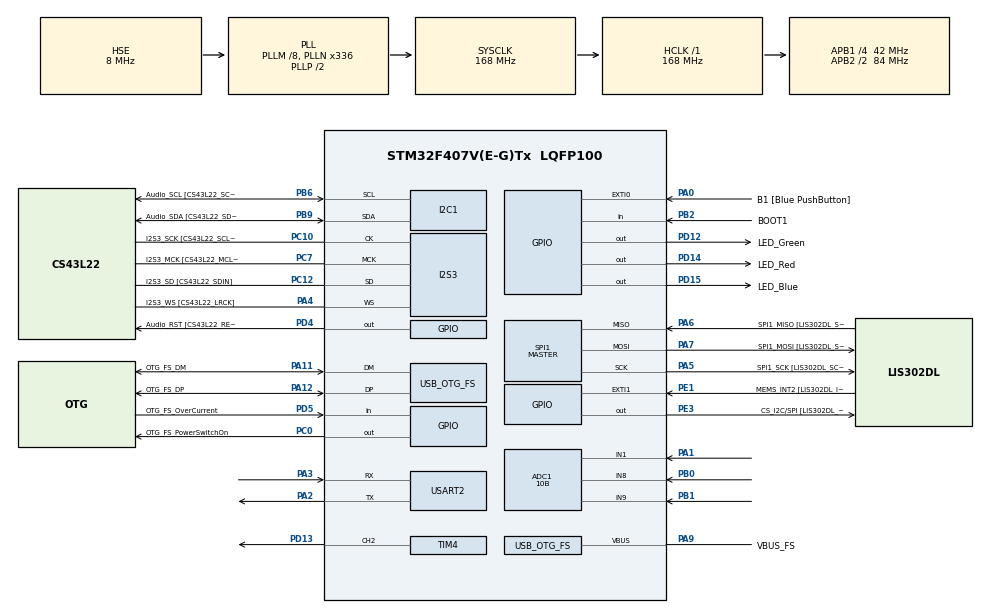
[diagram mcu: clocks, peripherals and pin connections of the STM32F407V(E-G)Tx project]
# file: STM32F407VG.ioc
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ADC1.Channel-0\#ChannelRegularConversion=ADC_CHANNEL_1
ADC1.Channel-3\#ChannelRegularConversion=ADC_CHANNEL_8
ADC1.Channel-4\#ChannelRegularConversion=ADC_CHANNEL_9
ADC1.ClockPrescaler=ADC_CLOCK_SYNC_PCLK_DIV8
ADC1.ContinuousConvMode=ENABLE
ADC1.DMAContinuousRequests=ENABLE
ADC1.InjNumberOfConversion=0
ADC1.NbrOfConversion=3
ADC1.NbrOfConversionFlag=1
ADC1.Rank-0\#ChannelRegularConversion=1
ADC1.Rank-3\#ChannelRegularConversion=2
ADC1.Rank-4\#ChannelRegularConversion=3
ADC1.Resolution=ADC_RESOLUTION_10B
ADC1.SamplingTime-0\#ChannelRegularConversion=ADC_SAMPLETIME_84CYCLES
ADC1.SamplingTime-3\#ChannelRegularConversion=ADC_SAMPLETIME_84CYCLES
ADC1.SamplingTime-4\#ChannelRegularConversion=ADC_SAMPLETIME_84CYCLES
ADC1.ScanConvMode=ENABLE
ADC1.master=1
Dma.ADC1.0.Direction=DMA_PERIPH_TO_MEMORY
Dma.ADC1.0.FIFOMode=DMA_FIFOMODE_DISABLE
Dma.ADC1.0.Instance=DMA2_Stream0
Dma.ADC1.0.MemDataAlignment=DMA_MDATAALIGN_HALFWORD
Dma.ADC1.0.MemInc=DMA_MINC_ENABLE
Dma.ADC1.0.Mode=DMA_CIRCULAR
Dma.ADC1.0.PeriphDataAlignment=DMA_PDATAALIGN_HALFWORD
Dma.ADC1.0.PeriphInc=DMA_PINC_DISABLE
Dma.ADC1.0.Priority=DMA_PRIORITY_LOW
Dma.Request0=ADC1
Dma.Request1=TIM4_CH2
Dma.TIM4_CH2.1.Direction=DMA_MEMORY_TO_PERIPH
Dma.TIM4_CH2.1.FIFOMode=DMA_FIFOMODE_DISABLE
Dma.TIM4_CH2.1.Instance=DMA1_Stream3
Dma.TIM4_CH2.1.MemDataAlignment=DMA_MDATAALIGN_HALFWORD
Dma.TIM4_CH2.1.MemInc=DMA_MINC_ENABLE
Dma.TIM4_CH2.1.Mode=DMA_CIRCULAR
Dma.TIM4_CH2.1.PeriphDataAlignment=DMA_PDATAALIGN_HALFWORD
Dma.TIM4_CH2.1.PeriphInc=DMA_PINC_DISABLE
Dma.TIM4_CH2.1.Priority=DMA_PRIORITY_LOW
I2S3.AudioFreq-Half_Duplex_Master=I2S_AUDIOFREQ_96K
I2S3.ErrorAudioFreq=-2.34 %
I2S3.ErrorAudioFreq-Half_Duplex_Master=0.8 %
I2S3.FullDuplexMode=I2S_FULLDUPLEXMODE_DISABLE
I2S3.Instance=SPI$Index
I2S3.RealAudioFreq=93.75 KHz
I2S3.RealAudioFreq-Half_Duplex_Master=96.774 KHz
I2S3.VirtualMode=I2S_MODE_MASTER
Mcu.Family=STM32F4
Mcu.Name=STM32F407V(E-G)Tx
Mcu.Package=LQFP100
NVIC.DMA1_Stream3_IRQn=true\:0\:0\:false\:false\:true\:false\:true
NVIC.DMA2_Stream0_IRQn=true\:0\:0\:false\:false\:true\:false\:true
NVIC.OTG_FS_IRQn=true\:0\:0\:false\:false\:true\:true\:true
NVIC.PriorityGroup=NVIC_PRIORITYGROUP_0
NVIC.TIM1_UP_TIM10_IRQn=true\:0\:0\:false\:false\:true\:true\:true
NVIC.USART2_IRQn=true\:0\:0\:false\:false\:true\:true\:true
PA0-WKUP.GPIO_Label=B1 [Blue PushButton]
PA0-WKUP.GPIO_ModeDefaultEXTI=GPIO_MODE_EVT_RISING
PA0-WKUP.GPIO_PuPd=GPIO_NOPULL
PA0-WKUP.Signal=GPXTI0
PA1.Signal=ADCx_IN1
PA10.GPIO_Label=OTG_FS_ID
PA10.GPIO_Mode=GPIO_MODE_AF_PP
PA10.GPIO_PuPd=GPIO_NOPULL
PA10.GPIO_Speed=GPIO_SPEED_FREQ_LOW
PA10.Signal=USB_OTG_FS_ID
PA11.GPIO_Label=OTG_FS_DM
PA11.GPIO_Mode=GPIO_MODE_AF_PP
PA11.GPIO_PuPd=GPIO_NOPULL
PA11.GPIO_Speed=GPIO_SPEED_FREQ_LOW
PA11.Mode=Host_Only
PA11.Signal=USB_OTG_FS_DM
PA12.GPIO_Label=OTG_FS_DP
PA12.GPIO_Mode=GPIO_MODE_AF_PP
PA12.GPIO_PuPd=GPIO_NOPULL
PA12.GPIO_Speed=GPIO_SPEED_FREQ_LOW
PA12.Mode=Host_Only
PA12.Signal=USB_OTG_FS_DP
PA13.GPIO_Label=SWDIO
PA13.Mode=Serial_Wire
PA13.Signal=SYS_JTMS-SWDIO
PA14.GPIO_Label=SWCLK
PA14.Mode=Serial_Wire
PA14.Signal=SYS_JTCK-SWCLK
PA2.Mode=Asynchronous
PA2.Signal=USART2_TX
PA3.Mode=Asynchronous
PA3.Signal=USART2_RX
PA4.GPIO_Label=I2S3_WS [CS43L22_LRCK]
PA4.GPIO_Mode=GPIO_MODE_AF_PP
PA4.GPIO_PuPd=GPIO_NOPULL
PA4.GPIO_Speed=GPIO_SPEED_FREQ_LOW
PA4.Mode=Half_Duplex_Master
PA4.Signal=I2S3_WS
PA5.GPIO_Label=SPI1_SCK [LIS302DL_SCL/SPC]
PA5.GPIO_Mode=GPIO_MODE_AF_PP
PA5.GPIO_PuPd=GPIO_NOPULL
PA5.GPIO_Speed=GPIO_SPEED_FREQ_LOW
PA5.Mode=Full_Duplex_Master
PA5.Signal=SPI1_SCK
PA6.GPIO_Label=SPI1_MISO [LIS302DL_SDO]
PA6.GPIO_Mode=GPIO_MODE_AF_PP
PA6.GPIO_PuPd=GPIO_NOPULL
PA6.GPIO_Speed=GPIO_SPEED_FREQ_LOW
PA6.Mode=Full_Duplex_Master
PA6.Signal=SPI1_MISO
PA7.GPIO_Label=SPI1_MOSI [LIS302DL_SDA/SDI/SDO]
PA7.GPIO_Mode=GPIO_MODE_AF_PP
PA7.GPIO_PuPd=GPIO_NOPULL
PA7.GPIO_Speed=GPIO_SPEED_FREQ_LOW
PA7.Mode=Full_Duplex_Master
PA7.Signal=SPI1_MOSI
PA9.GPIO_Label=VBUS_FS
PA9.GPIO_Mode=GPIO_MODE_INPUT
PA9.GPIO_PuPd=GPIO_NOPULL
PA9.Mode=Activate_VBUS
PA9.Signal=USB_OTG_FS_VBUS
PB0.Signal=ADCx_IN8
PB1.Signal=ADCx_IN9
PB10.GPIO_Label=CLK_IN [MP45DT02_CLK]
PB10.GPIO_Mode=GPIO_MODE_AF_PP
PB10.GPIO_PuPd=GPIO_NOPULL
PB10.GPIO_Speed=GPIO_SPEED_FREQ_LOW
PB10.Signal=I2S2_CK
PB2.GPIO_Label=BOOT1
PB2.GPIO_Mode=GPIO_MODE_INPUT
PB2.GPIO_PuPd=GPIO_NOPULL
PB2.Signal=GPIO_Input
PB3.GPIO_Label=SWO
PB3.Signal=SYS_JTDO-SWO
PB6.GPIO_Label=Audio_SCL [CS43L22_SCL]
PB6.GPIO_Mode=GPIO_MODE_AF_OD
PB6.GPIO_PuPd=GPIO_NOPULL
PB6.GPIO_Speed=GPIO_SPEED_FREQ_LOW
PB6.Mode=I2C
PB6.Signal=I2C1_SCL
PB9.GPIO_Label=Audio_SDA [CS43L22_SDA]
PB9.GPIO_Mode=GPIO_MODE_AF_OD
PB9.GPIO_PuPd=GPIO_NOPULL
PB9.GPIO_Speed=GPIO_SPEED_FREQ_LOW
PB9.Mode=I2C
PB9.Signal=I2C1_SDA
PC0.GPIO_Label=OTG_FS_PowerSwitchOn
PC0.GPIO_PuPd=GPIO_NOPULL
PC0.GPIO_Speed=GPIO_SPEED_FREQ_LOW
PC0.PinState=GPIO_PIN_SET
PC0.Signal=GPIO_Output
PC10.GPIO_Label=I2S3_SCK [CS43L22_SCLK]
PC10.GPIO_Mode=GPIO_MODE_AF_PP
PC10.GPIO_PuPd=GPIO_NOPULL
PC10.GPIO_Speed=GPIO_SPEED_FREQ_LOW
PC10.Mode=Half_Duplex_Master
PC10.Signal=I2S3_CK
PC12.GPIO_Label=I2S3_SD [CS43L22_SDIN]
PC12.GPIO_Mode=GPIO_MODE_AF_PP
PC12.GPIO_PuPd=GPIO_NOPULL
PC12.GPIO_Speed=GPIO_SPEED_FREQ_LOW
PC12.Mode=Half_Duplex_Master
PC12.Signal=I2S3_SD
PC14-OSC32_IN.GPIO_Label=PC14-OSC32_IN
PC14-OSC32_IN.Mode=LSE-External-Oscillator
PC14-OSC32_IN.Signal=RCC_OSC32_IN
PC15-OSC32_OUT.GPIO_Label=PC15-OSC32_OUT
PC15-OSC32_OUT.Mode=LSE-External-Oscillator
PC15-OSC32_OUT.Signal=RCC_OSC32_OUT
PC3.GPIO_Label=PDM_OUT [MP45DT02_DOUT]
PC3.GPIO_Mode=GPIO_MODE_AF_PP
PC3.GPIO_PuPd=GPIO_NOPULL
PC3.GPIO_Speed=GPIO_SPEED_FREQ_LOW
PC3.Signal=I2S2_SD
PC7.GPIO_Label=I2S3_MCK [CS43L22_MCLK]
PC7.GPIO_Mode=GPIO_MODE_AF_PP
PC7.GPIO_PuPd=GPIO_NOPULL
PC7.GPIO_Speed=GPIO_SPEED_FREQ_LOW
PC7.Mode=Master_Clock_Activated
PC7.Signal=I2S3_MCK
PD12.GPIO_Label=LED_Green
PD12.Signal=GPIO_Output
PD13.Signal=S_TIM4_CH2
PD14.GPIO_Label=LED_Red
PD14.GPIO_PuPd=GPIO_NOPULL
PD14.GPIO_Speed=GPIO_SPEED_FREQ_LOW
PD14.Signal=GPIO_Output
PD15.GPIO_Label=LED_Blue
PD15.Signal=GPIO_Output
PD4.GPIO_Label=Audio_RST [CS43L22_RESET]
PD4.GPIO_PuPd=GPIO_NOPULL
PD4.GPIO_Speed=GPIO_SPEED_FREQ_LOW
PD4.Signal=GPIO_Output
PD5.GPIO_Label=OTG_FS_OverCurrent
PD5.GPIO_Mode=GPIO_MODE_INPUT
PD5.GPIO_PuPd=GPIO_NOPULL
PD5.Signal=GPIO_Input
PE1.GPIO_Label=MEMS_INT2 [LIS302DL_INT2]
PE1.GPIO_ModeDefaultEXTI=GPIO_MODE_EVT_RISING
PE1.GPIO_PuPd=GPIO_NOPULL
PE1.Signal=GPXTI1
PE3.GPIO_Label=CS_I2C/SPI [LIS302DL_CS_I2C/SPI]
PE3.GPIO_PuPd=GPIO_NOPULL
PE3.GPIO_Speed=GPIO_SPEED_FREQ_LOW
PE3.Signal=GPIO_Output
PH0-OSC_IN.GPIO_Label=PH0-OSC_IN
PH0-OSC_IN.Mode=HSE-External-Oscillator
PH0-OSC_IN.Signal=RCC_OSC_IN
PH1-OSC_OUT.GPIO_Label=PH1-OSC_OUT
PH1-OSC_OUT.Mode=HSE-External-Oscillator
PH1-OSC_OUT.Signal=RCC_OSC_OUT
ProjectManager.HeapSize=0x200
ProjectManager.StackSize=0x400
ProjectManager.TargetToolchain=STM32CubeIDE
RCC.48MHZClocksFreq_Value=48000000
RCC.AHBFreq_Value=168000000
RCC.APB1CLKDivider=RCC_HCLK_DIV4
RCC.APB1Freq_Value=42000000
RCC.APB1TimFreq_Value=84000000
RCC.APB2CLKDivider=RCC_HCLK_DIV2
RCC.APB2Freq_Value=84000000
RCC.APB2TimFreq_Value=168000000
RCC.CortexFreq_Value=168000000
RCC.HCLKFreq_Value=168000000
RCC.HSE_VALUE=8000000
RCC.HSI_VALUE=16000000
RCC.PLLM=8
RCC.PLLN=336
RCC.PLLQ=7
RCC.SYSCLKFreq_VALUE=168000000
RCC.SYSCLKSource=RCC_SYSCLKSOURCE_PLLCLK
RCC.VCOOutputFreq_Value=336000000
SH.ADCx_IN1.0=ADC1_IN1,IN1
SH.ADCx_IN8.0=ADC1_IN8,IN8
SH.ADCx_IN9.0=ADC1_IN9,IN9
SH.S_TIM4_CH2.0=TIM4_CH2,PWM Generation2 CH2
SPI1.BaudRatePrescaler-Full_Duplex_Master=SPI_BAUDRATEPRESCALER_2
SPI1.CalculateBaudRate-Full_Duplex_Master=42.0 MBits/s
SPI1.Direction=SPI_DIRECTION_2LINES
SPI1.Mode=SPI_MODE_MASTER
SPI1.Mode-Full_Duplex_Master=SPI_MODE_MASTER
SPI1.VirtualType=VM_MASTER
TIM10.AutoReloadPreload=TIM_AUTORELOAD_PRELOAD_ENABLE
TIM10.ClockDivision=TIM_CLOCKDIVISION_DIV4
TIM10.Period=33599
TIM10.Prescaler=499
TIM4.Channel-PWM\ Generation2\ CH2=TIM_CHANNEL_2
TIM4.Period=99
TIM4.Prescaler=16799
USART2.VirtualMode=VM_ASYNC
USB_HOST.BSP.number=1
USB_HOST.USBH_HandleTypeDef-CDC_FS=hUsbHostFS
USB_HOST.VirtualModeFS=Cdc
USB_HOST0.BSP.STBoard=false
USB_HOST0.BSP.api=Unknown
USB_HOST0.BSP.i2caddr=0
USB_HOST0.BSP.i2creg=0
USB_HOST0.BSP.instance=PC0
USB_HOST0.BSP.ip=GPIO
USB_HOST0.BSP.mode=Output
USB_HOST0.BSP.name=Drive_VBUS_FS
USB_HOST0.BSP.solution=PC0
USB_OTG_FS.VirtualMode=Host_Only
USB_OTG_FS.phy_itface=HCD_PHY_EMBEDDED
VP_TIM10_VS_ClockSourceINT.Mode=Enable_Timer
VP_TIM4_VS_ClockSourceINT.Mode=Internal
VP_USB_HOST_VS_USB_HOST_CDC_FS.Mode=CDC_FS
board=STM32F407G-DISC1

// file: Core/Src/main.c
/* USER CODE BEGIN Header */
/**
  ******************************************************************************
  * @file           : main.c
  * @brief          : Main program body
  ******************************************************************************
  * @attention
  *
  * <h2><center>&copy; Copyright (c) 2020 STMicroelectronics.
  * All rights reserved.</center></h2>
  *
  * This software component is licensed by ST under Ultimate Liberty license
  * SLA0044, the "License"; You may not use this file except in compliance with
  * the License. You may obtain a copy of the License at:
  *                             www.st.com/SLA0044
  *
  ******************************************************************************
  */
/* USER CODE END Header */
#include "main.h"
#include "usb_host.h"

/* USER CODE BEGIN Includes */
#include <stdio.h>
/* USER CODE END Includes */

ADC_HandleTypeDef hadc1;
DMA_HandleTypeDef hdma_adc1;

I2C_HandleTypeDef hi2c1;

I2S_HandleTypeDef hi2s3;

SPI_HandleTypeDef hspi1;

TIM_HandleTypeDef htim4;
TIM_HandleTypeDef htim10;
DMA_HandleTypeDef hdma_tim4_ch2;

UART_HandleTypeDef huart2;

/* USER CODE BEGIN PV */
uint8_t timer_state=0;
uint8_t receive_state=0;
uint16_t ADC_Data[3];
uint8_t Duty=0;

uint16_t scale=1024;
static uint16_t battery=0;
static uint16_t balance_level=0;
static uint16_t charging=0;
static uint16_t servo=0;
uint8_t Received_data[10];//data received from ESP
uint8_t data[100];// data transmitted to ESP
uint16_t size = 0; //size of transmitted data
uint8_t mode =0;
/* USER CODE END PV */

void SystemClock_Config(void);
static void MX_GPIO_Init(void);
static void MX_DMA_Init(void);
static void MX_I2C1_Init(void);
static void MX_I2S3_Init(void);
static void MX_SPI1_Init(void);
static void MX_TIM10_Init(void);
static void MX_USART2_UART_Init(void);
static void MX_ADC1_Init(void);
static void MX_TIM4_Init(void);
void MX_USB_HOST_Process(void);

/* USER CODE BEGIN PFP */
void HAL_TIM_PeriodElapsedCallback(TIM_HandleTypeDef *htim) {
	timer_state=1;// ustawione na razie co jedną sekundę
}
 void HAL_UART_RxCpltCallback(UART_HandleTypeDef *huart)
 {
	 receive_state = 1;
 }

/* USER CODE END PFP */

int main(void)
{

  /* MCU Configuration--------------------------------------------------------*/

  /* Reset of all peripherals, Initializes the Flash interface and the Systick. */
  HAL_Init();

  /* Configure the system clock */
  SystemClock_Config();

  /* Initialize all configured peripherals */
  MX_GPIO_Init();
  MX_DMA_Init();
  MX_I2C1_Init();
  MX_I2S3_Init();
  MX_SPI1_Init();
  MX_USB_HOST_Init();
  MX_TIM10_Init();
  MX_USART2_UART_Init();
  MX_ADC1_Init();
  MX_TIM4_Init();
  /* USER CODE BEGIN 2 */

  HAL_TIM_Base_Start_IT(&htim10);
  HAL_ADC_Start_DMA(&hadc1, ADC_Data, 3);
  HAL_TIM_PWM_Start_DMA(&htim4,TIM_CHANNEL_2, &Duty, 1);

  Duty=8;

 //RCC->APB2LPENR|= ~(1<<RCC_APB2LPENR_TIM10LPEN_Pos);

  /* USER CODE END 2 */

  /* Infinite loop */
  /* USER CODE BEGIN WHILE */

  //watchdog configuration:

  RCC->CSR |= RCC_CSR_LSION; //enable LSI required for watchdog
  while((RCC->CSR & RCC_CSR_LSIRDY) == 0)//checking whether LSI is on
  { ; }

  IWDG->KR = 0x5555;// enabling access to the IWDG_PR and IWDG_RLR registers
  IWDG->PR =4;//set prescaler
  IWDG->RLR = 0x7D0;//counter value
  IWDG->KR =0xaaaa;//counter reset

  IWDG->KR = 0xcccc;//turn Watchdog on
  __DSB();//waiting for completed memory acces

  while (1)
  {
	  if(timer_state==1)//if TIM10 interrupt, transmitt data via uart:
	  	 {

		  battery=ADC_Data[0];//battery voltage level
		  balance_level=ADC_Data[1];//light level given by photoresistor divider
		  charging=ADC_Data[2];//solar panel voltage level

		  //servo = 0;
		  //servo information is stored in static variable
		  //we have to know the last position!!!

		  //dataframe example: c00000b00000ll00000s00000

		  HAL_GPIO_TogglePin(LED_Red_GPIO_Port, LED_Red_Pin);//RED led informs that data is transmitted!
		  size = sprintf(data, "c%db%dll%ds%d\n\r",charging,battery,balance_level,servo); // Stworzenie wiadomosci do wyslania
		  HAL_UART_Transmit_IT(&huart2, data, size);//data transmittion
		  timer_state=0;

	  	 }

		  if(receive_state==1)//if UART Rx Callback set servo and transmitt feedback message
		  {

			//if data received - turn on LED_Green for half of sec
			HAL_GPIO_WritePin(LED_Green_GPIO_Port, LED_Green_Pin, GPIO_PIN_SET);
			HAL_Delay(500);
			HAL_GPIO_WritePin(LED_Green_GPIO_Port, LED_Green_Pin, GPIO_PIN_RESET);
			//receiving data:
			HAL_UART_Receive_IT(&huart2,Received_data,10);

			servo=atoi(&Received_data);//if servo data was received, example s4

			if(servo == 1)
			{
			//sleep mode configuration:
			//SCB->SCR |= ~(1<<SCB_SCR_SLEEPDEEP_Pos);

			}
			else if(servo>3 && servo<12) //example when 4 set servo
			{
			mode = 1;
			Duty = servo;
			}
			else mode=0;// example: when 0 automat

			//feedback message:
			size = sprintf(data, "c%db%dll%ds%d\n\r",charging,battery,balance_level,servo); //feedback message  with extra servo data (updated)
			HAL_UART_Transmit_IT(&huart2, data, size);
			receive_state=0;
		  }
		  if(receive_state==0 && mode==0 && timer_state==1)
		  {
			  const uint16_t neutral_pos= 450;

			  if(abs(ADC_Data[1]-neutral_pos)>50)
			  {
			  	  if(ADC_Data[1]-neutral_pos>0)
					{

					  if(Duty<11) Duty+=1;
					}
				  else
					 if(Duty>4) Duty-=1;
			  }

		  }
		  //IWDG->KR = 0xaaaa;
		  HAL_GPIO_WritePin(LED_Blue_GPIO_Port, LED_Blue_Pin, GPIO_PIN_SET);
		  HAL_Delay(30);
		  HAL_GPIO_WritePin(LED_Blue_GPIO_Port, LED_Blue_Pin, GPIO_PIN_RESET);
		  HAL_Delay(30);

    /* USER CODE END WHILE */
    MX_USB_HOST_Process();

  }
}

void SystemClock_Config(void)
{
  RCC_OscInitTypeDef RCC_OscInitStruct = {0};
  RCC_ClkInitTypeDef RCC_ClkInitStruct = {0};
  RCC_PeriphCLKInitTypeDef PeriphClkInitStruct = {0};

  /** Configure the main internal regulator output voltage
  */
  __HAL_RCC_PWR_CLK_ENABLE();
  __HAL_PWR_VOLTAGESCALING_CONFIG(PWR_REGULATOR_VOLTAGE_SCALE1);
  /** Initializes the RCC Oscillators according to the specified parameters
  * in the RCC_OscInitTypeDef structure.
  */
  RCC_OscInitStruct.OscillatorType = RCC_OSCILLATORTYPE_HSE;
  RCC_OscInitStruct.HSEState = RCC_HSE_ON;
  RCC_OscInitStruct.PLL.PLLState = RCC_PLL_ON;
  RCC_OscInitStruct.PLL.PLLSource = RCC_PLLSOURCE_HSE;
  RCC_OscInitStruct.PLL.PLLM = 8;
  RCC_OscInitStruct.PLL.PLLN = 336;
  RCC_OscInitStruct.PLL.PLLP = RCC_PLLP_DIV2;
  RCC_OscInitStruct.PLL.PLLQ = 7;
  if (HAL_RCC_OscConfig(&RCC_OscInitStruct) != HAL_OK)
  {
    Error_Handler();
  }
  /** Initializes the CPU, AHB and APB buses clocks
  */
  RCC_ClkInitStruct.ClockType = RCC_CLOCKTYPE_HCLK|RCC_CLOCKTYPE_SYSCLK
                              |RCC_CLOCKTYPE_PCLK1|RCC_CLOCKTYPE_PCLK2;
  RCC_ClkInitStruct.SYSCLKSource = RCC_SYSCLKSOURCE_PLLCLK;
  RCC_ClkInitStruct.AHBCLKDivider = RCC_SYSCLK_DIV1;
  RCC_ClkInitStruct.APB1CLKDivider = RCC_HCLK_DIV4;
  RCC_ClkInitStruct.APB2CLKDivider = RCC_HCLK_DIV2;

  if (HAL_RCC_ClockConfig(&RCC_ClkInitStruct, FLASH_LATENCY_5) != HAL_OK)
  {
    Error_Handler();
  }
  PeriphClkInitStruct.PeriphClockSelection = RCC_PERIPHCLK_I2S;
  PeriphClkInitStruct.PLLI2S.PLLI2SN = 192;
  PeriphClkInitStruct.PLLI2S.PLLI2SR = 2;
  if (HAL_RCCEx_PeriphCLKConfig(&PeriphClkInitStruct) != HAL_OK)
  {
    Error_Handler();
  }
}

static void MX_ADC1_Init(void)
{

  ADC_ChannelConfTypeDef sConfig = {0};

  /** Configure the global features of the ADC (Clock, Resolution, Data Alignment and number of conversion)
  */
  hadc1.Instance = ADC1;
  hadc1.Init.ClockPrescaler = ADC_CLOCK_SYNC_PCLK_DIV8;
  hadc1.Init.Resolution = ADC_RESOLUTION_10B;
  hadc1.Init.ScanConvMode = ENABLE;
  hadc1.Init.ContinuousConvMode = ENABLE;
  hadc1.Init.DiscontinuousConvMode = DISABLE;
  hadc1.Init.ExternalTrigConvEdge = ADC_EXTERNALTRIGCONVEDGE_NONE;
  hadc1.Init.ExternalTrigConv = ADC_SOFTWARE_START;
  hadc1.Init.DataAlign = ADC_DATAALIGN_RIGHT;
  hadc1.Init.NbrOfConversion = 3;
  hadc1.Init.DMAContinuousRequests = ENABLE;
  hadc1.Init.EOCSelection = ADC_EOC_SINGLE_CONV;
  if (HAL_ADC_Init(&hadc1) != HAL_OK)
  {
    Error_Handler();
  }
  /** Configure for the selected ADC regular channel its corresponding rank in the sequencer and its sample time.
  */
  sConfig.Channel = ADC_CHANNEL_1;
  sConfig.Rank = 1;
  sConfig.SamplingTime = ADC_SAMPLETIME_84CYCLES;
  if (HAL_ADC_ConfigChannel(&hadc1, &sConfig) != HAL_OK)
  {
    Error_Handler();
  }
  /** Configure for the selected ADC regular channel its corresponding rank in the sequencer and its sample time.
  */
  sConfig.Channel = ADC_CHANNEL_8;
  sConfig.Rank = 2;
  if (HAL_ADC_ConfigChannel(&hadc1, &sConfig) != HAL_OK)
  {
    Error_Handler();
  }
  /** Configure for the selected ADC regular channel its corresponding rank in the sequencer and its sample time.
  */
  sConfig.Channel = ADC_CHANNEL_9;
  sConfig.Rank = 3;
  if (HAL_ADC_ConfigChannel(&hadc1, &sConfig) != HAL_OK)
  {
    Error_Handler();
  }

}

static void MX_I2C1_Init(void)
{

  hi2c1.Instance = I2C1;
  hi2c1.Init.ClockSpeed = 100000;
  hi2c1.Init.DutyCycle = I2C_DUTYCYCLE_2;
  hi2c1.Init.OwnAddress1 = 0;
  hi2c1.Init.AddressingMode = I2C_ADDRESSINGMODE_7BIT;
  hi2c1.Init.DualAddressMode = I2C_DUALADDRESS_DISABLE;
  hi2c1.Init.OwnAddress2 = 0;
  hi2c1.Init.GeneralCallMode = I2C_GENERALCALL_DISABLE;
  hi2c1.Init.NoStretchMode = I2C_NOSTRETCH_DISABLE;
  if (HAL_I2C_Init(&hi2c1) != HAL_OK)
  {
    Error_Handler();
  }

}

static void MX_I2S3_Init(void)
{

  hi2s3.Instance = SPI3;
  hi2s3.Init.Mode = I2S_MODE_MASTER_TX;
  hi2s3.Init.Standard = I2S_STANDARD_PHILIPS;
  hi2s3.Init.DataFormat = I2S_DATAFORMAT_16B;
  hi2s3.Init.MCLKOutput = I2S_MCLKOUTPUT_ENABLE;
  hi2s3.Init.AudioFreq = I2S_AUDIOFREQ_96K;
  hi2s3.Init.CPOL = I2S_CPOL_LOW;
  hi2s3.Init.ClockSource = I2S_CLOCK_PLL;
  hi2s3.Init.FullDuplexMode = I2S_FULLDUPLEXMODE_DISABLE;
  if (HAL_I2S_Init(&hi2s3) != HAL_OK)
  {
    Error_Handler();
  }

}

static void MX_SPI1_Init(void)
{

  /* SPI1 parameter configuration*/
  hspi1.Instance = SPI1;
  hspi1.Init.Mode = SPI_MODE_MASTER;
  hspi1.Init.Direction = SPI_DIRECTION_2LINES;
  hspi1.Init.DataSize = SPI_DATASIZE_8BIT;
  hspi1.Init.CLKPolarity = SPI_POLARITY_LOW;
  hspi1.Init.CLKPhase = SPI_PHASE_1EDGE;
  hspi1.Init.NSS = SPI_NSS_SOFT;
  hspi1.Init.BaudRatePrescaler = SPI_BAUDRATEPRESCALER_2;
  hspi1.Init.FirstBit = SPI_FIRSTBIT_MSB;
  hspi1.Init.TIMode = SPI_TIMODE_DISABLE;
  hspi1.Init.CRCCalculation = SPI_CRCCALCULATION_DISABLE;
  hspi1.Init.CRCPolynomial = 10;
  if (HAL_SPI_Init(&hspi1) != HAL_OK)
  {
    Error_Handler();
  }

}

static void MX_TIM4_Init(void)
{

  TIM_ClockConfigTypeDef sClockSourceConfig = {0};
  TIM_MasterConfigTypeDef sMasterConfig = {0};
  TIM_OC_InitTypeDef sConfigOC = {0};

  htim4.Instance = TIM4;
  htim4.Init.Prescaler = 16799;
  htim4.Init.CounterMode = TIM_COUNTERMODE_UP;
  htim4.Init.Period = 99;
  htim4.Init.ClockDivision = TIM_CLOCKDIVISION_DIV1;
  htim4.Init.AutoReloadPreload = TIM_AUTORELOAD_PRELOAD_DISABLE;
  if (HAL_TIM_Base_Init(&htim4) != HAL_OK)
  {
    Error_Handler();
  }
  sClockSourceConfig.ClockSource = TIM_CLOCKSOURCE_INTERNAL;
  if (HAL_TIM_ConfigClockSource(&htim4, &sClockSourceConfig) != HAL_OK)
  {
    Error_Handler();
  }
  if (HAL_TIM_PWM_Init(&htim4) != HAL_OK)
  {
    Error_Handler();
  }
  sMasterConfig.MasterOutputTrigger = TIM_TRGO_RESET;
  sMasterConfig.MasterSlaveMode = TIM_MASTERSLAVEMODE_DISABLE;
  if (HAL_TIMEx_MasterConfigSynchronization(&htim4, &sMasterConfig) != HAL_OK)
  {
    Error_Handler();
  }
  sConfigOC.OCMode = TIM_OCMODE_PWM1;
  sConfigOC.Pulse = 0;
  sConfigOC.OCPolarity = TIM_OCPOLARITY_HIGH;
  sConfigOC.OCFastMode = TIM_OCFAST_DISABLE;
  if (HAL_TIM_PWM_ConfigChannel(&htim4, &sConfigOC, TIM_CHANNEL_2) != HAL_OK)
  {
    Error_Handler();
  }
  HAL_TIM_MspPostInit(&htim4);

}

static void MX_TIM10_Init(void)
{

  htim10.Instance = TIM10;
  htim10.Init.Prescaler = 499;
  htim10.Init.CounterMode = TIM_COUNTERMODE_UP;
  htim10.Init.Period = 33599;
  htim10.Init.ClockDivision = TIM_CLOCKDIVISION_DIV4;
  htim10.Init.AutoReloadPreload = TIM_AUTORELOAD_PRELOAD_ENABLE;
  if (HAL_TIM_Base_Init(&htim10) != HAL_OK)
  {
    Error_Handler();
  }

}

static void MX_USART2_UART_Init(void)
{

  huart2.Instance = USART2;
  huart2.Init.BaudRate = 115200;
  huart2.Init.WordLength = UART_WORDLENGTH_8B;
  huart2.Init.StopBits = UART_STOPBITS_1;
  huart2.Init.Parity = UART_PARITY_NONE;
  huart2.Init.Mode = UART_MODE_TX_RX;
  huart2.Init.HwFlowCtl = UART_HWCONTROL_NONE;
  huart2.Init.OverSampling = UART_OVERSAMPLING_16;
  if (HAL_UART_Init(&huart2) != HAL_OK)
  {
    Error_Handler();
  }

}

static void MX_DMA_Init(void)
{

  /* DMA controller clock enable */
  __HAL_RCC_DMA2_CLK_ENABLE();
  __HAL_RCC_DMA1_CLK_ENABLE();

  /* DMA interrupt init */
  /* DMA1_Stream3_IRQn interrupt configuration */
  HAL_NVIC_SetPriority(DMA1_Stream3_IRQn, 0, 0);
  HAL_NVIC_EnableIRQ(DMA1_Stream3_IRQn);
  /* DMA2_Stream0_IRQn interrupt configuration */
  HAL_NVIC_SetPriority(DMA2_Stream0_IRQn, 0, 0);
  HAL_NVIC_EnableIRQ(DMA2_Stream0_IRQn);

}

static void MX_GPIO_Init(void)
{
  GPIO_InitTypeDef GPIO_InitStruct = {0};

  /* GPIO Ports Clock Enable */
  __HAL_RCC_GPIOE_CLK_ENABLE();
  __HAL_RCC_GPIOC_CLK_ENABLE();
  __HAL_RCC_GPIOH_CLK_ENABLE();
  __HAL_RCC_GPIOA_CLK_ENABLE();
  __HAL_RCC_GPIOB_CLK_ENABLE();
  __HAL_RCC_GPIOD_CLK_ENABLE();

  /*Configure GPIO pin Output Level */
  HAL_GPIO_WritePin(CS_I2C_SPI_GPIO_Port, CS_I2C_SPI_Pin, GPIO_PIN_RESET);

  /*Configure GPIO pin Output Level */
  HAL_GPIO_WritePin(OTG_FS_PowerSwitchOn_GPIO_Port, OTG_FS_PowerSwitchOn_Pin, GPIO_PIN_SET);

  /*Configure GPIO pin Output Level */
  HAL_GPIO_WritePin(GPIOD, LED_Green_Pin|LED_Red_Pin|LED_Blue_Pin|Audio_RST_Pin, GPIO_PIN_RESET);

  /*Configure GPIO pin : CS_I2C_SPI_Pin */
  GPIO_InitStruct.Pin = CS_I2C_SPI_Pin;
  GPIO_InitStruct.Mode = GPIO_MODE_OUTPUT_PP;
  GPIO_InitStruct.Pull = GPIO_NOPULL;
  GPIO_InitStruct.Speed = GPIO_SPEED_FREQ_LOW;
  HAL_GPIO_Init(CS_I2C_SPI_GPIO_Port, &GPIO_InitStruct);

  /*Configure GPIO pin : OTG_FS_PowerSwitchOn_Pin */
  GPIO_InitStruct.Pin = OTG_FS_PowerSwitchOn_Pin;
  GPIO_InitStruct.Mode = GPIO_MODE_OUTPUT_PP;
  GPIO_InitStruct.Pull = GPIO_NOPULL;
  GPIO_InitStruct.Speed = GPIO_SPEED_FREQ_LOW;
  HAL_GPIO_Init(OTG_FS_PowerSwitchOn_GPIO_Port, &GPIO_InitStruct);

  /*Configure GPIO pin : PDM_OUT_Pin */
  GPIO_InitStruct.Pin = PDM_OUT_Pin;
  GPIO_InitStruct.Mode = GPIO_MODE_AF_PP;
  GPIO_InitStruct.Pull = GPIO_NOPULL;
  GPIO_InitStruct.Speed = GPIO_SPEED_FREQ_LOW;
  GPIO_InitStruct.Alternate = GPIO_AF5_SPI2;
  HAL_GPIO_Init(PDM_OUT_GPIO_Port, &GPIO_InitStruct);

  /*Configure GPIO pin : B1_Pin */
  GPIO_InitStruct.Pin = B1_Pin;
  GPIO_InitStruct.Mode = GPIO_MODE_EVT_RISING;
  GPIO_InitStruct.Pull = GPIO_NOPULL;
  HAL_GPIO_Init(B1_GPIO_Port, &GPIO_InitStruct);

  /*Configure GPIO pin : BOOT1_Pin */
  GPIO_InitStruct.Pin = BOOT1_Pin;
  GPIO_InitStruct.Mode = GPIO_MODE_INPUT;
  GPIO_InitStruct.Pull = GPIO_NOPULL;
  HAL_GPIO_Init(BOOT1_GPIO_Port, &GPIO_InitStruct);

  /*Configure GPIO pin : CLK_IN_Pin */
  GPIO_InitStruct.Pin = CLK_IN_Pin;
  GPIO_InitStruct.Mode = GPIO_MODE_AF_PP;
  GPIO_InitStruct.Pull = GPIO_NOPULL;
  GPIO_InitStruct.Speed = GPIO_SPEED_FREQ_LOW;
  GPIO_InitStruct.Alternate = GPIO_AF5_SPI2;
  HAL_GPIO_Init(CLK_IN_GPIO_Port, &GPIO_InitStruct);

  /*Configure GPIO pins : LED_Green_Pin LED_Red_Pin LED_Blue_Pin Audio_RST_Pin */
  GPIO_InitStruct.Pin = LED_Green_Pin|LED_Red_Pin|LED_Blue_Pin|Audio_RST_Pin;
  GPIO_InitStruct.Mode = GPIO_MODE_OUTPUT_PP;
  GPIO_InitStruct.Pull = GPIO_NOPULL;
  GPIO_InitStruct.Speed = GPIO_SPEED_FREQ_LOW;
  HAL_GPIO_Init(GPIOD, &GPIO_InitStruct);

  /*Configure GPIO pin : OTG_FS_OverCurrent_Pin */
  GPIO_InitStruct.Pin = OTG_FS_OverCurrent_Pin;
  GPIO_InitStruct.Mode = GPIO_MODE_INPUT;
  GPIO_InitStruct.Pull = GPIO_NOPULL;
  HAL_GPIO_Init(OTG_FS_OverCurrent_GPIO_Port, &GPIO_InitStruct);

  /*Configure GPIO pin : MEMS_INT2_Pin */
  GPIO_InitStruct.Pin = MEMS_INT2_Pin;
  GPIO_InitStruct.Mode = GPIO_MODE_EVT_RISING;
  GPIO_InitStruct.Pull = GPIO_NOPULL;
  HAL_GPIO_Init(MEMS_INT2_GPIO_Port, &GPIO_InitStruct);

}

void Error_Handler(void)
{
  __disable_irq();
  while (1)
  {
  }
}

/************************ (C) COPYRIGHT STMicroelectronics *****END OF FILE****/
